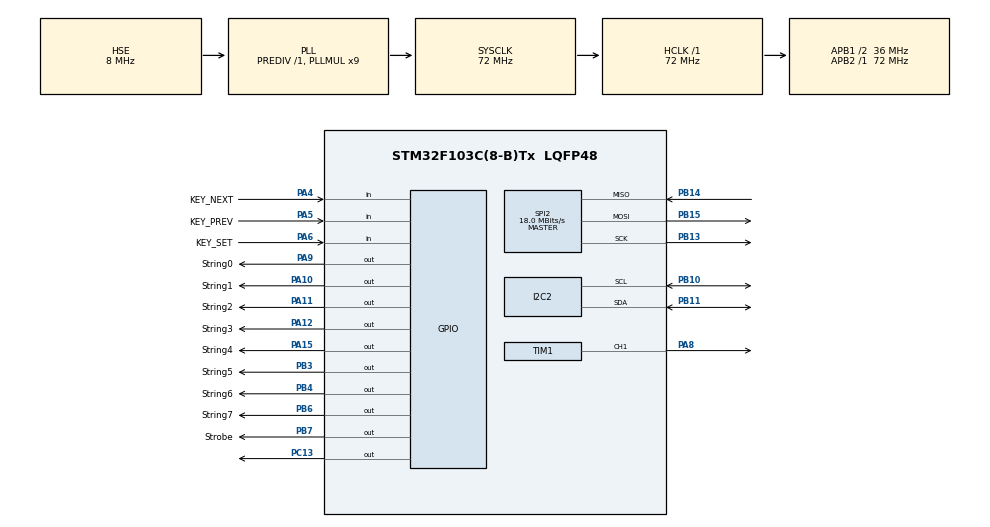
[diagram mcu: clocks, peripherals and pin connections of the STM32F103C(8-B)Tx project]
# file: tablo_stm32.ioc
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I2C2.I2C_Mode=I2C_Standard
Mcu.Family=STM32F1
Mcu.Name=STM32F103C(8-B)Tx
Mcu.Package=LQFP48
NVIC.I2C2_ER_IRQn=true\:0\:0\:false\:false\:true\:true\:true
NVIC.I2C2_EV_IRQn=true\:0\:0\:false\:false\:true\:true\:true
NVIC.PriorityGroup=NVIC_PRIORITYGROUP_4
NVIC.TIM2_IRQn=true\:0\:0\:false\:false\:true\:true\:true
PA10.GPIO_Label=String1
PA10.GPIO_Speed=GPIO_SPEED_FREQ_HIGH
PA10.PinState=GPIO_PIN_SET
PA10.Signal=GPIO_Output
PA11.GPIO_Label=String2
PA11.GPIO_Speed=GPIO_SPEED_FREQ_HIGH
PA11.PinState=GPIO_PIN_SET
PA11.Signal=GPIO_Output
PA12.GPIO_Label=String3
PA12.GPIO_Speed=GPIO_SPEED_FREQ_HIGH
PA12.PinState=GPIO_PIN_SET
PA12.Signal=GPIO_Output
PA13.Mode=Serial_Wire
PA13.Signal=SYS_JTMS-SWDIO
PA14.Mode=Serial_Wire
PA14.Signal=SYS_JTCK-SWCLK
PA15.GPIO_Label=String4
PA15.GPIO_Speed=GPIO_SPEED_FREQ_HIGH
PA15.PinState=GPIO_PIN_SET
PA15.Signal=GPIO_Output
PA4.GPIO_Label=KEY_NEXT
PA4.Signal=GPIO_Input
PA5.GPIO_Label=KEY_PREV
PA5.Signal=GPIO_Input
PA6.GPIO_Label=KEY_SET
PA6.Signal=GPIO_Input
PA8.GPIO_Speed=GPIO_SPEED_FREQ_HIGH
PA8.Signal=S_TIM1_CH1
PA9.GPIO_Label=String0
PA9.GPIO_Speed=GPIO_SPEED_FREQ_HIGH
PA9.PinState=GPIO_PIN_SET
PA9.Signal=GPIO_Output
PB10.Mode=I2C
PB10.Signal=I2C2_SCL
PB11.Mode=I2C
PB11.Signal=I2C2_SDA
PB13.Mode=Full_Duplex_Master
PB13.Signal=SPI2_SCK
PB14.Mode=Full_Duplex_Master
PB14.Signal=SPI2_MISO
PB15.Mode=Full_Duplex_Master
PB15.Signal=SPI2_MOSI
PB3.GPIO_Label=String5
PB3.GPIO_Speed=GPIO_SPEED_FREQ_HIGH
PB3.PinState=GPIO_PIN_SET
PB3.Signal=GPIO_Output
PB4.GPIO_Label=String6
PB4.GPIO_Speed=GPIO_SPEED_FREQ_HIGH
PB4.PinState=GPIO_PIN_SET
PB4.Signal=GPIO_Output
PB6.GPIO_Label=String7
PB6.GPIO_Speed=GPIO_SPEED_FREQ_HIGH
PB6.PinState=GPIO_PIN_SET
PB6.Signal=GPIO_Output
PB7.GPIO_Label=Strobe
PB7.GPIO_Speed=GPIO_SPEED_FREQ_HIGH
PB7.PinState=GPIO_PIN_RESET
PB7.Signal=GPIO_Output
PC13-TAMPER-RTC.PinState=GPIO_PIN_SET
PC13-TAMPER-RTC.Signal=GPIO_Output
PD0-OSC_IN.Mode=HSE-External-Oscillator
PD0-OSC_IN.Signal=RCC_OSC_IN
PD1-OSC_OUT.Mode=HSE-External-Oscillator
PD1-OSC_OUT.Signal=RCC_OSC_OUT
ProjectManager.HeapSize=0x200
ProjectManager.StackSize=0x400
ProjectManager.TargetToolchain=STM32CubeIDE
RCC.AHBFreq_Value=72000000
RCC.APB1CLKDivider=RCC_HCLK_DIV2
RCC.APB1Freq_Value=36000000
RCC.APB1TimFreq_Value=72000000
RCC.APB2Freq_Value=72000000
RCC.APB2TimFreq_Value=72000000
RCC.HCLKFreq_Value=72000000
RCC.PLLMUL=RCC_PLL_MUL9
RCC.PLLSourceVirtual=RCC_PLLSOURCE_HSE
RCC.SYSCLKFreq_VALUE=72000000
RCC.SYSCLKSource=RCC_SYSCLKSOURCE_PLLCLK
RCC.USBFreq_Value=72000000
SH.S_TIM1_CH1.0=TIM1_CH1,PWM Generation1 CH1
SPI2.BaudRatePrescaler=SPI_BAUDRATEPRESCALER_2
SPI2.CLKPolarity=SPI_POLARITY_LOW
SPI2.CalculateBaudRate=18.0 MBits/s
SPI2.DataSize=SPI_DATASIZE_8BIT
SPI2.Direction=SPI_DIRECTION_2LINES
SPI2.FirstBit=SPI_FIRSTBIT_MSB
SPI2.Mode=SPI_MODE_MASTER
SPI2.VirtualType=VM_MASTER
TIM1.Channel-PWM\ Generation1\ CH1=TIM_CHANNEL_1
TIM1.Period=255
TIM2.Period=999
TIM2.Prescaler=71
TIM2.TIM_MasterOutputTrigger=TIM_TRGO_UPDATE
VP_TIM1_VS_ClockSourceINT.Mode=Internal
VP_TIM2_VS_ClockSourceINT.Mode=Internal
board=custom

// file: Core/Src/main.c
/* USER CODE BEGIN Header */
/**
  ******************************************************************************
  * @file           : main.c
  * @brief          : Main program body
  ******************************************************************************
  * @attention
  *
  * <h2><center>&copy; Copyright (c) 2020 STMicroelectronics.
  * All rights reserved.</center></h2>
  *
  * This software component is licensed by ST under BSD 3-Clause license,
  * the "License"; You may not use this file except in compliance with the
  * License. You may obtain a copy of the License at:
  *                        opensource.org/licenses/BSD-3-Clause
  *
  ******************************************************************************
  */
/* USER CODE END Header */

#include "main.h"

I2C_HandleTypeDef hi2c2;

SPI_HandleTypeDef hspi2;

TIM_HandleTypeDef htim1;
TIM_HandleTypeDef htim2;

/* USER CODE BEGIN PV */
extern char temperatureDs[7];
extern char yearDs[5];
extern uint8_t min, hour, day, date, mounth, year;
uint16_t current_tick = 0;
_Bool menu_settings = 0;
_Bool timer_off1 = 1;
uint16_t fix_ti1 = 0;
_Bool two_points = 1;
_Bool timer_off2 = 1;
uint16_t fix_ti2 = 0;
/* USER CODE END PV */

void SystemClock_Config(void);
static void MX_GPIO_Init(void);
static void MX_SPI2_Init(void);
static void MX_TIM1_Init(void);
static void MX_TIM2_Init(void);
static void MX_I2C2_Init(void);

int main(void)
{

  /* MCU Configuration--------------------------------------------------------*/

  /* Reset of all peripherals, Initializes the Flash interface and the Systick. */
  HAL_Init();

  /* Configure the system clock */
  SystemClock_Config();

  /* Initialize all configured peripherals */
  MX_GPIO_Init();
  MX_SPI2_Init();
  MX_TIM1_Init();
  MX_TIM2_Init();
  MX_I2C2_Init();
  /* USER CODE BEGIN 2 */

  HAL_TIM_Base_Start_IT(&htim2);//!!!!!!!!!!!!!!!!!!!!!!!!!!!!!!!!!!!!!!!!!!!!!!
  HAL_TIM_PWM_Start(&htim1, TIM_CHANNEL_1);
  TIM1->CCR1 = 1;
  initTablo();
  getRTC();

  /*
  //задается настройка первоначальная
  min = 52;
  hour = 11;
  day = 3;
  date = 5;
  mounth = 5;
  year = 20;
  setTime();
  */

  uint8_t day_changed = day;
  _Bool reset_screen = 0;
  /* USER CODE END 2 */

  /* Infinite loop */
  /* USER CODE BEGIN WHILE */

  while (1)
  {
    functionGetRTC();
    controlKey();
    automaticTimeTranslation();//до 10:00 включить часы и не выключать до 12:00
    if(menu_settings){
      if(!reset_screen) reset_screen = 1;

      outputSettingsScreen();
    }
    else{
      if(day_changed != day) { day_changed = day; reset_screen = 1; }
      if(reset_screen) { resetTicker(); reset_screen = 0; }

      outputMainScreen();
    }

    /* USER CODE END WHILE */

  }
}

void SystemClock_Config(void)
{
  RCC_OscInitTypeDef RCC_OscInitStruct = {0};
  RCC_ClkInitTypeDef RCC_ClkInitStruct = {0};

  /** Initializes the CPU, AHB and APB busses clocks
  */
  RCC_OscInitStruct.OscillatorType = RCC_OSCILLATORTYPE_HSE;
  RCC_OscInitStruct.HSEState = RCC_HSE_ON;
  RCC_OscInitStruct.HSEPredivValue = RCC_HSE_PREDIV_DIV1;
  RCC_OscInitStruct.HSIState = RCC_HSI_ON;
  RCC_OscInitStruct.PLL.PLLState = RCC_PLL_ON;
  RCC_OscInitStruct.PLL.PLLSource = RCC_PLLSOURCE_HSE;
  RCC_OscInitStruct.PLL.PLLMUL = RCC_PLL_MUL9;
  if (HAL_RCC_OscConfig(&RCC_OscInitStruct) != HAL_OK)
  {
    Error_Handler();
  }
  /** Initializes the CPU, AHB and APB busses clocks
  */
  RCC_ClkInitStruct.ClockType = RCC_CLOCKTYPE_HCLK|RCC_CLOCKTYPE_SYSCLK
                              |RCC_CLOCKTYPE_PCLK1|RCC_CLOCKTYPE_PCLK2;
  RCC_ClkInitStruct.SYSCLKSource = RCC_SYSCLKSOURCE_PLLCLK;
  RCC_ClkInitStruct.AHBCLKDivider = RCC_SYSCLK_DIV1;
  RCC_ClkInitStruct.APB1CLKDivider = RCC_HCLK_DIV2;
  RCC_ClkInitStruct.APB2CLKDivider = RCC_HCLK_DIV1;

  if (HAL_RCC_ClockConfig(&RCC_ClkInitStruct, FLASH_LATENCY_2) != HAL_OK)
  {
    Error_Handler();
  }
}

static void MX_I2C2_Init(void)
{

  hi2c2.Instance = I2C2;
  hi2c2.Init.ClockSpeed = 100000;
  hi2c2.Init.DutyCycle = I2C_DUTYCYCLE_2;
  hi2c2.Init.OwnAddress1 = 0;
  hi2c2.Init.AddressingMode = I2C_ADDRESSINGMODE_7BIT;
  hi2c2.Init.DualAddressMode = I2C_DUALADDRESS_DISABLE;
  hi2c2.Init.OwnAddress2 = 0;
  hi2c2.Init.GeneralCallMode = I2C_GENERALCALL_DISABLE;
  hi2c2.Init.NoStretchMode = I2C_NOSTRETCH_DISABLE;
  if (HAL_I2C_Init(&hi2c2) != HAL_OK)
  {
    Error_Handler();
  }

}

static void MX_SPI2_Init(void)
{

  /* SPI2 parameter configuration*/
  hspi2.Instance = SPI2;
  hspi2.Init.Mode = SPI_MODE_MASTER;
  hspi2.Init.Direction = SPI_DIRECTION_2LINES;
  hspi2.Init.DataSize = SPI_DATASIZE_8BIT;
  hspi2.Init.CLKPolarity = SPI_POLARITY_LOW;
  hspi2.Init.CLKPhase = SPI_PHASE_1EDGE;
  hspi2.Init.NSS = SPI_NSS_SOFT;
  hspi2.Init.BaudRatePrescaler = SPI_BAUDRATEPRESCALER_2;
  hspi2.Init.FirstBit = SPI_FIRSTBIT_MSB;
  hspi2.Init.TIMode = SPI_TIMODE_DISABLE;
  hspi2.Init.CRCCalculation = SPI_CRCCALCULATION_DISABLE;
  hspi2.Init.CRCPolynomial = 10;
  if (HAL_SPI_Init(&hspi2) != HAL_OK)
  {
    Error_Handler();
  }

}

static void MX_TIM1_Init(void)
{

  TIM_ClockConfigTypeDef sClockSourceConfig = {0};
  TIM_MasterConfigTypeDef sMasterConfig = {0};
  TIM_OC_InitTypeDef sConfigOC = {0};
  TIM_BreakDeadTimeConfigTypeDef sBreakDeadTimeConfig = {0};

  htim1.Instance = TIM1;
  htim1.Init.Prescaler = 0;
  htim1.Init.CounterMode = TIM_COUNTERMODE_UP;
  htim1.Init.Period = 255;
  htim1.Init.ClockDivision = TIM_CLOCKDIVISION_DIV1;
  htim1.Init.RepetitionCounter = 0;
  htim1.Init.AutoReloadPreload = TIM_AUTORELOAD_PRELOAD_DISABLE;
  if (HAL_TIM_Base_Init(&htim1) != HAL_OK)
  {
    Error_Handler();
  }
  sClockSourceConfig.ClockSource = TIM_CLOCKSOURCE_INTERNAL;
  if (HAL_TIM_ConfigClockSource(&htim1, &sClockSourceConfig) != HAL_OK)
  {
    Error_Handler();
  }
  if (HAL_TIM_PWM_Init(&htim1) != HAL_OK)
  {
    Error_Handler();
  }
  sMasterConfig.MasterOutputTrigger = TIM_TRGO_RESET;
  sMasterConfig.MasterSlaveMode = TIM_MASTERSLAVEMODE_DISABLE;
  if (HAL_TIMEx_MasterConfigSynchronization(&htim1, &sMasterConfig) != HAL_OK)
  {
    Error_Handler();
  }
  sConfigOC.OCMode = TIM_OCMODE_PWM1;
  sConfigOC.Pulse = 0;
  sConfigOC.OCPolarity = TIM_OCPOLARITY_HIGH;
  sConfigOC.OCNPolarity = TIM_OCNPOLARITY_HIGH;
  sConfigOC.OCFastMode = TIM_OCFAST_DISABLE;
  sConfigOC.OCIdleState = TIM_OCIDLESTATE_RESET;
  sConfigOC.OCNIdleState = TIM_OCNIDLESTATE_RESET;
  if (HAL_TIM_PWM_ConfigChannel(&htim1, &sConfigOC, TIM_CHANNEL_1) != HAL_OK)
  {
    Error_Handler();
  }
  sBreakDeadTimeConfig.OffStateRunMode = TIM_OSSR_DISABLE;
  sBreakDeadTimeConfig.OffStateIDLEMode = TIM_OSSI_DISABLE;
  sBreakDeadTimeConfig.LockLevel = TIM_LOCKLEVEL_OFF;
  sBreakDeadTimeConfig.DeadTime = 0;
  sBreakDeadTimeConfig.BreakState = TIM_BREAK_DISABLE;
  sBreakDeadTimeConfig.BreakPolarity = TIM_BREAKPOLARITY_HIGH;
  sBreakDeadTimeConfig.AutomaticOutput = TIM_AUTOMATICOUTPUT_DISABLE;
  if (HAL_TIMEx_ConfigBreakDeadTime(&htim1, &sBreakDeadTimeConfig) != HAL_OK)
  {
    Error_Handler();
  }
  HAL_TIM_MspPostInit(&htim1);

}

static void MX_TIM2_Init(void)
{

  TIM_ClockConfigTypeDef sClockSourceConfig = {0};
  TIM_MasterConfigTypeDef sMasterConfig = {0};

  htim2.Instance = TIM2;
  htim2.Init.Prescaler = 71;
  htim2.Init.CounterMode = TIM_COUNTERMODE_UP;
  htim2.Init.Period = 999;
  htim2.Init.ClockDivision = TIM_CLOCKDIVISION_DIV1;
  htim2.Init.AutoReloadPreload = TIM_AUTORELOAD_PRELOAD_DISABLE;
  if (HAL_TIM_Base_Init(&htim2) != HAL_OK)
  {
    Error_Handler();
  }
  sClockSourceConfig.ClockSource = TIM_CLOCKSOURCE_INTERNAL;
  if (HAL_TIM_ConfigClockSource(&htim2, &sClockSourceConfig) != HAL_OK)
  {
    Error_Handler();
  }
  sMasterConfig.MasterOutputTrigger = TIM_TRGO_UPDATE;
  sMasterConfig.MasterSlaveMode = TIM_MASTERSLAVEMODE_DISABLE;
  if (HAL_TIMEx_MasterConfigSynchronization(&htim2, &sMasterConfig) != HAL_OK)
  {
    Error_Handler();
  }

}

static void MX_GPIO_Init(void)
{
  GPIO_InitTypeDef GPIO_InitStruct = {0};

  /* GPIO Ports Clock Enable */
  __HAL_RCC_GPIOC_CLK_ENABLE();
  __HAL_RCC_GPIOD_CLK_ENABLE();
  __HAL_RCC_GPIOA_CLK_ENABLE();
  __HAL_RCC_GPIOB_CLK_ENABLE();

  /*Configure GPIO pin Output Level */
  HAL_GPIO_WritePin(GPIOC, GPIO_PIN_13, GPIO_PIN_SET);

  /*Configure GPIO pin Output Level */
  HAL_GPIO_WritePin(GPIOA, String0_Pin|String1_Pin|String2_Pin|String3_Pin
                          |String4_Pin, GPIO_PIN_SET);

  /*Configure GPIO pin Output Level */
  HAL_GPIO_WritePin(GPIOB, String5_Pin|String6_Pin|String7_Pin, GPIO_PIN_SET);

  /*Configure GPIO pin Output Level */
  HAL_GPIO_WritePin(Strobe_GPIO_Port, Strobe_Pin, GPIO_PIN_RESET);

  /*Configure GPIO pin : PC13 */
  GPIO_InitStruct.Pin = GPIO_PIN_13;
  GPIO_InitStruct.Mode = GPIO_MODE_OUTPUT_PP;
  GPIO_InitStruct.Pull = GPIO_NOPULL;
  GPIO_InitStruct.Speed = GPIO_SPEED_FREQ_LOW;
  HAL_GPIO_Init(GPIOC, &GPIO_InitStruct);

  /*Configure GPIO pins : KEY_NEXT_Pin KEY_PREV_Pin KEY_SET_Pin */
  GPIO_InitStruct.Pin = KEY_NEXT_Pin|KEY_PREV_Pin|KEY_SET_Pin;
  GPIO_InitStruct.Mode = GPIO_MODE_INPUT;
  GPIO_InitStruct.Pull = GPIO_NOPULL;
  HAL_GPIO_Init(GPIOA, &GPIO_InitStruct);

  /*Configure GPIO pins : String0_Pin String1_Pin String2_Pin String3_Pin
                           String4_Pin */
  GPIO_InitStruct.Pin = String0_Pin|String1_Pin|String2_Pin|String3_Pin
                          |String4_Pin;
  GPIO_InitStruct.Mode = GPIO_MODE_OUTPUT_PP;
  GPIO_InitStruct.Pull = GPIO_NOPULL;
  GPIO_InitStruct.Speed = GPIO_SPEED_FREQ_HIGH;
  HAL_GPIO_Init(GPIOA, &GPIO_InitStruct);

  /*Configure GPIO pins : String5_Pin String6_Pin String7_Pin Strobe_Pin */
  GPIO_InitStruct.Pin = String5_Pin|String6_Pin|String7_Pin|Strobe_Pin;
  GPIO_InitStruct.Mode = GPIO_MODE_OUTPUT_PP;
  GPIO_InitStruct.Pull = GPIO_NOPULL;
  GPIO_InitStruct.Speed = GPIO_SPEED_FREQ_HIGH;
  HAL_GPIO_Init(GPIOB, &GPIO_InitStruct);

}

/* USER CODE BEGIN 4 */

void HAL_TIM_PeriodElapsedCallback(TIM_HandleTypeDef *htim2)
{
  showTablo();

  if(current_tick < 65535) current_tick++;
  else current_tick = 0;
}

_Bool controlTickTime(uint16_t fixed_tick, uint16_t value_tick)
{
  _Bool stop_tick;
  uint16_t temp_tick;

  if(current_tick < fixed_tick){
    temp_tick = 65535 - fixed_tick;
    value_tick = value_tick - temp_tick;
    fixed_tick = 0;
  }

  if((current_tick - fixed_tick) >= value_tick) stop_tick = 1;
  else stop_tick = 0;

  return stop_tick;
}

uint16_t getCurrentTick(void)
{
  return current_tick;
}

void outputMainScreen(void)
{
  showString(0, getTimeH());
  twoPoints();
  showString(9, getTimeMi());

  setTicker(16, getTimeDayW());
  uint8_t n = getSizeStringDay() * numbers_line_matrix;
  temperatureDs3231();
  setTicker(16 + 3 + n, temperatureDs);
  showTicker(1, 16 + 3 + n + 15 + 15);

  setTicker(17, getTimeDM());
  setTicker(23, ".");
  setTicker(26, getTimeMo());
  setTicker(32, ".");
  getTimeY();
  setTicker(35, yearDs);
  setTicker(50, getTimeMounth());
  uint8_t n2 = getSizeStringMounth() * numbers_line_matrix;
  showTicker(2, 50 + n2 - 3 + 12);
}

void outputSettingsScreen(void)
{
  showString(0, getTimeH());
  showString(9, getTimeMi());
  showString(1, getTimeDW());
  showString(10, getTimeDM());
  showString(2, getTimeMo());
  showString(11, getTimeYe());

  if(getStateNextSetting() == 1){
    showString(6, "<");
	showString(7, " ");
	showString(8, " ");
  }
  else if(getStateNextSetting() == 2){
	showString(6, ">");
	showString(7, " ");
	showString(8, " ");
  }
  else if(getStateNextSetting() == 3){
	showString(6, " ");
	showString(7, "<");
	showString(8, " ");
  }
  else if(getStateNextSetting() == 4){
	showString(6, " ");
	showString(7, ">");
	showString(8, " ");
  }
  else if(getStateNextSetting() == 5){
	showString(6, " ");
	showString(7, " ");
	showString(8, "<");
  }
  else if(getStateNextSetting() == 6){
	showString(6, " ");
	showString(7, " ");
	showString(8, ">");
  }

  two_points = 1;
  timer_off2 = 1;
}

void twoPoints(void)
{
  if(timer_off2){
    fix_ti2 = current_tick;
    timer_off2 = 0;
  }
  else if(controlTickTime(fix_ti2, 500)){
    timer_off2 = 1;
    two_points = !two_points;
  }

  if(two_points) showString(6, ":");
  else showString(6, " ");
}

void functionGetRTC(void)
{
  if(timer_off1){
    fix_ti1 = current_tick;
    timer_off1 = 0;
  }
  else if(controlTickTime(fix_ti1, 1000)){
    timer_off1 = 1;
    getRTC();

    HAL_GPIO_TogglePin(GPIOC, GPIO_PIN_13);
  }
}

/* USER CODE END 4 */

void Error_Handler(void)
{
}

/************************ (C) COPYRIGHT STMicroelectronics *****END OF FILE****/
